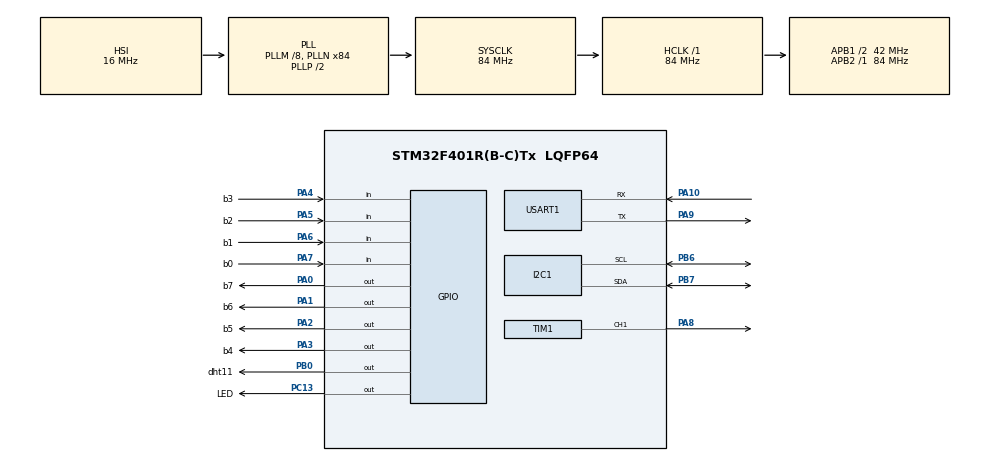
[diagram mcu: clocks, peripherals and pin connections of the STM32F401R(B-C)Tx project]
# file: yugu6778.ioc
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FREERTOS.Tasks01=defaultTask,24,128,StartDefaultTask,Default,NULL,Dynamic,NULL,NULL
FREERTOS.configTOTAL_HEAP_SIZE=30720
Mcu.Family=STM32F4
Mcu.Name=STM32F401R(B-C)Tx
Mcu.Package=LQFP64
NVIC.PriorityGroup=NVIC_PRIORITYGROUP_4
NVIC.TIM1_UP_TIM10_IRQn=true\:5\:0\:false\:false\:true\:false\:false\:true\:true
NVIC.TimeBase=TIM1_UP_TIM10_IRQn
NVIC.TimeBaseIP=TIM10
NVIC.USART1_IRQn=true\:5\:0\:false\:false\:true\:true\:true\:true\:true
PA0-WKUP.GPIO_Label=b7
PA0-WKUP.PinState=GPIO_PIN_SET
PA0-WKUP.Signal=GPIO_Output
PA1.GPIO_Label=b6
PA1.PinState=GPIO_PIN_SET
PA1.Signal=GPIO_Output
PA10.Mode=Asynchronous
PA10.Signal=USART1_RX
PA13.Mode=Serial_Wire
PA13.Signal=SYS_JTMS-SWDIO
PA14.Mode=Serial_Wire
PA14.Signal=SYS_JTCK-SWCLK
PA2.GPIO_Label=b5
PA2.PinState=GPIO_PIN_SET
PA2.Signal=GPIO_Output
PA3.GPIO_Label=b4
PA3.PinState=GPIO_PIN_SET
PA3.Signal=GPIO_Output
PA4.GPIO_Label=b3
PA4.GPIO_PuPd=GPIO_PULLUP
PA4.Signal=GPIO_Input
PA5.GPIO_Label=b2
PA5.GPIO_PuPd=GPIO_PULLUP
PA5.Signal=GPIO_Input
PA6.GPIO_Label=b1
PA6.GPIO_PuPd=GPIO_PULLUP
PA6.Signal=GPIO_Input
PA7.GPIO_Label=b0
PA7.GPIO_PuPd=GPIO_PULLUP
PA7.Signal=GPIO_Input
PA8.Signal=S_TIM1_CH1
PA9.Mode=Asynchronous
PA9.Signal=USART1_TX
PB0.GPIO_Label=dht11
PB0.PinState=GPIO_PIN_SET
PB0.Signal=GPIO_Output
PB6.Mode=I2C
PB6.Signal=I2C1_SCL
PB7.Mode=I2C
PB7.Signal=I2C1_SDA
PC13-ANTI_TAMP.GPIO_Label=LED
PC13-ANTI_TAMP.Signal=GPIO_Output
PC14-OSC32_IN.Mode=LSE-External-Oscillator
PC14-OSC32_IN.Signal=RCC_OSC32_IN
PC15-OSC32_OUT.Mode=LSE-External-Oscillator
PC15-OSC32_OUT.Signal=RCC_OSC32_OUT
PH0\ -\ OSC_IN.Mode=HSE-External-Oscillator
PH0\ -\ OSC_IN.Signal=RCC_OSC_IN
PH1\ -\ OSC_OUT.Mode=HSE-External-Oscillator
PH1\ -\ OSC_OUT.Signal=RCC_OSC_OUT
ProjectManager.HeapSize=0x200
ProjectManager.StackSize=0x400
ProjectManager.TargetToolchain=MDK-ARM V5.32
RCC.48MHZClocksFreq_Value=42000000
RCC.AHBFreq_Value=84000000
RCC.APB1CLKDivider=RCC_HCLK_DIV2
RCC.APB1Freq_Value=42000000
RCC.APB1TimFreq_Value=84000000
RCC.APB2Freq_Value=84000000
RCC.APB2TimFreq_Value=84000000
RCC.CortexFreq_Value=84000000
RCC.HCLKFreq_Value=84000000
RCC.HSE_VALUE=25000000
RCC.HSI_VALUE=16000000
RCC.PLLM=8
RCC.PLLN=84
RCC.SYSCLKFreq_VALUE=84000000
RCC.SYSCLKSource=RCC_SYSCLKSOURCE_PLLCLK
RCC.VCOOutputFreq_Value=168000000
SH.S_TIM1_CH1.0=TIM1_CH1,PWM Generation1 CH1
TIM1.Channel-PWM\ Generation1\ CH1=TIM_CHANNEL_1
TIM1.Period=1000-1
TIM1.Prescaler=84-1
USART1.VirtualMode=VM_ASYNC
VP_FREERTOS_VS_CMSIS_V2.Mode=CMSIS_V2
VP_SYS_VS_tim10.Mode=TIM10
VP_TIM1_VS_ClockSourceINT.Mode=Internal
board=custom

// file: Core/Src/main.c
/* USER CODE BEGIN Header */
/**
  ******************************************************************************
  * @file           : main.c
  * @brief          : Main program body
  ******************************************************************************
  * @attention
  *
  * Copyright (c) 2026 STMicroelectronics.
  * All rights reserved.
  *
  * This software is licensed under terms that can be found in the LICENSE file
  * in the root directory of this software component.
  * If no LICENSE file comes with this software, it is provided AS-IS.
  *
  ******************************************************************************
  */
/* USER CODE END Header */
#include "main.h"
#include "cmsis_os.h"
#include "i2c.h"
#include "tim.h"
#include "usart.h"
#include "gpio.h"

void SystemClock_Config(void);
void MX_FREERTOS_Init(void);

int main(void)
{

  /* MCU Configuration--------------------------------------------------------*/

  /* Reset of all peripherals, Initializes the Flash interface and the Systick. */
  HAL_Init();

  /* Configure the system clock */
  SystemClock_Config();

  /* Initialize all configured peripherals */
  MX_GPIO_Init();
  MX_I2C1_Init();
  MX_TIM1_Init();
  MX_USART1_UART_Init();

  /* Init scheduler */
  osKernelInitialize();  /* Call init function for freertos objects (in cmsis_os2.c) */
  MX_FREERTOS_Init();

  /* Start scheduler */
  osKernelStart();

  /* We should never get here as control is now taken by the scheduler */

  /* Infinite loop */
  while (1)
  {

  }
}

void SystemClock_Config(void)
{
  RCC_OscInitTypeDef RCC_OscInitStruct = {0};
  RCC_ClkInitTypeDef RCC_ClkInitStruct = {0};

  /** Configure the main internal regulator output voltage
  */
  __HAL_RCC_PWR_CLK_ENABLE();
  __HAL_PWR_VOLTAGESCALING_CONFIG(PWR_REGULATOR_VOLTAGE_SCALE2);

  /** Initializes the RCC Oscillators according to the specified parameters
  * in the RCC_OscInitTypeDef structure.
  */
  RCC_OscInitStruct.OscillatorType = RCC_OSCILLATORTYPE_HSI;
  RCC_OscInitStruct.HSIState = RCC_HSI_ON;
  RCC_OscInitStruct.HSICalibrationValue = RCC_HSICALIBRATION_DEFAULT;
  RCC_OscInitStruct.PLL.PLLState = RCC_PLL_ON;
  RCC_OscInitStruct.PLL.PLLSource = RCC_PLLSOURCE_HSI;
  RCC_OscInitStruct.PLL.PLLM = 8;
  RCC_OscInitStruct.PLL.PLLN = 84;
  RCC_OscInitStruct.PLL.PLLP = RCC_PLLP_DIV2;
  RCC_OscInitStruct.PLL.PLLQ = 4;
  if (HAL_RCC_OscConfig(&RCC_OscInitStruct) != HAL_OK)
  {
    Error_Handler();
  }

  /** Initializes the CPU, AHB and APB buses clocks
  */
  RCC_ClkInitStruct.ClockType = RCC_CLOCKTYPE_HCLK|RCC_CLOCKTYPE_SYSCLK
                              |RCC_CLOCKTYPE_PCLK1|RCC_CLOCKTYPE_PCLK2;
  RCC_ClkInitStruct.SYSCLKSource = RCC_SYSCLKSOURCE_PLLCLK;
  RCC_ClkInitStruct.AHBCLKDivider = RCC_SYSCLK_DIV1;
  RCC_ClkInitStruct.APB1CLKDivider = RCC_HCLK_DIV2;
  RCC_ClkInitStruct.APB2CLKDivider = RCC_HCLK_DIV1;

  if (HAL_RCC_ClockConfig(&RCC_ClkInitStruct, FLASH_LATENCY_2) != HAL_OK)
  {
    Error_Handler();
  }
}

void HAL_TIM_PeriodElapsedCallback(TIM_HandleTypeDef *htim)
{
  if (htim->Instance == TIM10)
  {
    HAL_IncTick();
  }
}

void Error_Handler(void)
{
  __disable_irq();
  while (1)
  {
  }
}

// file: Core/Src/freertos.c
/* USER CODE BEGIN Header */
/**
  ******************************************************************************
  * File Name          : freertos.c
  * Description        : Code for freertos applications
  ******************************************************************************
  * @attention
  *
  * Copyright (c) 2026 STMicroelectronics.
  * All rights reserved.
  *
  * This software is licensed under terms that can be found in the LICENSE file
  * in the root directory of this software component.
  * If no LICENSE file comes with this software, it is provided AS-IS.
  *
  ******************************************************************************
  */
/* USER CODE END Header */

#include "FreeRTOS.h"
#include "task.h"
#include "main.h"
#include "cmsis_os.h"

/* USER CODE BEGIN Includes */
#include "oled.h"
#include "tim.h"
#include "Music.h"
#include "button4_4.h"
#include "debug.h"
#include "page.h"
#include "home.h"
#include "sensor.h"
#include "dht11.h"
#include "dwt.h"

/* USER CODE END Includes */

/* Definitions for defaultTask */
osThreadId_t defaultTaskHandle;
const osThreadAttr_t defaultTask_attributes = {
  .name = "defaultTask",
  .stack_size = 128 * 4,
  .priority = (osPriority_t) osPriorityNormal,
};

/* USER CODE BEGIN FunctionPrototypes */

void ledTask(void *arg){
		Item item;
		strcpy(item.str,"hello world");
		item.len=strlen(item.str);

	while(1){

		debug.ops.add(item);
		HAL_GPIO_TogglePin(LED_GPIO_Port, LED_Pin);
		osDelay(1000);
	}
}

void btnTask(void *arg)
{
	while(1){
		btnCtl.ops.scan(&btnCtl);
		osDelay(10);
	}

}

void beeTask(void *arg)
{
	while(1){
		MUSIC_Analysis();
	}
}

void handleTask(void *arg)
{
	TaskHandle_t bee=NULL;
	int isRunning=0;

	while (1){
		char ch;
		xQueueReceive(btnCtl.q,&ch,portMAX_DELAY);
		switch(ch){
			case '0':
				HAL_GPIO_TogglePin(LED_GPIO_Port, LED_Pin);
				break;
			case '1':
				if(bee==NULL){
					oledClean();
					oledDisplay(0, 0, "start bee");
					xTaskCreate(beeTask, "beeTask", 512, NULL, osPriorityNormal, &bee);
					isRunning=1;
				}
				break;

			case '2':
				if(bee!=NULL){
					oledClean();
					oledDisplay(0, 0, "del bee");
					vTaskDelete(bee);
					BSP_Buzzer_SetFrequency(0);
					bee=NULL;
					isRunning=0;
				}
				break;

			case '3':
				if(bee!=NULL){
					if(isRunning){
						oledClean();
						oledDisplay(0, 0, "suspend bee");
						vTaskSuspend(bee);
						BSP_Buzzer_SetFrequency(0);
						isRunning=0;
					}else{
						oledClean();
						oledDisplay(0, 0, "start bee");
						vTaskResume(bee);
						isRunning=1;
					}
				}
				break;
		}
		osDelay(10);
	}

}

/* USER CODE END FunctionPrototypes */

void StartDefaultTask(void *argument);

void MX_FREERTOS_Init(void); /* (MISRA C 2004 rule 8.1) */

void MX_FREERTOS_Init(void) {
  /* USER CODE BEGIN Init */

	oledInit();
	BtnInit();
  	debugInit();
	DWT_Init();
	DhtInit();

	uiInit();
	HomePageInit();
  	SensorPageInit();
  	TdPageInit();

  /* USER CODE END Init */

  /* Create the thread(s) */
  /* creation of defaultTask */
  defaultTaskHandle = osThreadNew(StartDefaultTask, NULL, &defaultTask_attributes);

  /* USER CODE BEGIN RTOS_THREADS */

  //xTaskCreate(handleTask, "ledTask", 512, NULL, osPriorityNormal, NULL);

  xTaskCreate(btnTask, "btnTask", 512, NULL, osPriorityNormal, NULL);
  xTaskCreate(debug.ops.handle, "debugTask", 512, NULL, osPriorityNormal, NULL);
  xTaskCreate(UiTask, "UiTask", 512, NULL, osPriorityNormal, NULL);
  xTaskCreate(UpdateTask, "updateTask", 512, NULL, osPriorityNormal, NULL);
	xTaskCreate(dhtCtl.ops.scan, "dhtTask", 1024, NULL, osPriorityNormal, NULL);
  /* add threads, ... */
  /* USER CODE END RTOS_THREADS */

  /* USER CODE BEGIN RTOS_EVENTS */
  /* add events, ... */

  pageStack.ops.push(&homePage);
  /* USER CODE END RTOS_EVENTS */

}

void StartDefaultTask(void *argument)
{
  for(;;)
  {
    osDelay(1);
  }
}
